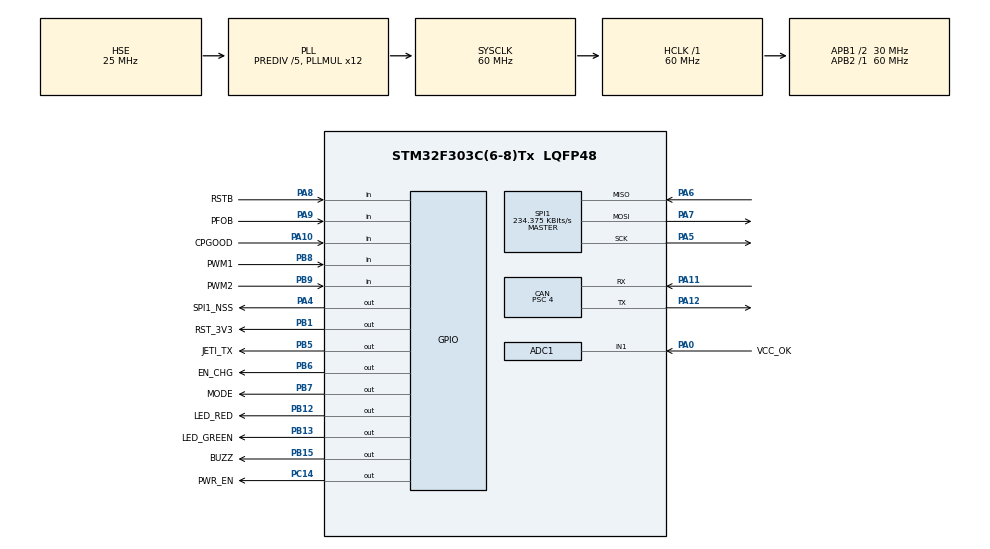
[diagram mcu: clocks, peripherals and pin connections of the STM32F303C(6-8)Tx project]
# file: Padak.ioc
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ADC1.Channel-0\#ChannelRegularConversion=ADC_CHANNEL_1
ADC1.ClockPrescaler=ADC_CLOCK_ASYNC_DIV1
ADC1.ContinuousConvMode=DISABLE
ADC1.DMAContinuousRequests=DISABLE
ADC1.DataAlign=ADC_DATAALIGN_RIGHT
ADC1.DiscontinuousConvMode=DISABLE
ADC1.EOCSelection=ADC_EOC_SINGLE_CONV
ADC1.EnableAnalogWatchDog1=false
ADC1.EnableAnalogWatchDog2=false
ADC1.EnableAnalogWatchDog3=false
ADC1.EnableInjectedConversion=ENABLE
ADC1.EnableRegularConversion=ENABLE
ADC1.ExternalTrigConv=ADC_SOFTWARE_START
ADC1.ExternalTrigConvEdge=ADC_EXTERNALTRIGCONVEDGE_NONE
ADC1.InjNumberOfConversion=0
ADC1.LowPowerAutoWait=DISABLE
ADC1.NbrOfConversion=1
ADC1.NbrOfConversionFlag=1
ADC1.Offset-0\#ChannelRegularConversion=0
ADC1.OffsetNumber-0\#ChannelRegularConversion=ADC_OFFSET_NONE
ADC1.Overrun=ADC_OVR_DATA_OVERWRITTEN
ADC1.Rank-0\#ChannelRegularConversion=1
ADC1.Resolution=ADC_RESOLUTION_12B
ADC1.SamplingTime-0\#ChannelRegularConversion=ADC_SAMPLETIME_1CYCLE_5
ADC1.ScanConvMode=ADC_SCAN_DISABLE
ADC1.master=1
CAN.BS1=CAN_BS1_12TQ
CAN.BS2=CAN_BS2_2TQ
CAN.CalculateTimeBit=2000
CAN.CalculateTimeQuantum=133.33333333333334
CAN.Prescaler=4
Mcu.Family=STM32F3
Mcu.Name=STM32F303C(6-8)Tx
Mcu.Package=LQFP48
NVIC.PriorityGroup=NVIC_PRIORITYGROUP_4
NVIC.TIM1_TRG_COM_TIM17_IRQn=true\:0\:0\:false\:false\:true\:true
NVIC.TIM1_UP_TIM16_IRQn=true\:0\:0\:false\:false\:true\:true
NVIC.TIM3_IRQn=true\:0\:0\:false\:false\:true\:true
NVIC.TIM6_DAC1_IRQn=true\:0\:0\:false\:false\:true\:true
PA0.GPIO_Label=VCC_OK
PA0.Mode=IN1-Single-Ended
PA0.Signal=ADC1_IN1
PA10.GPIO_Label=CPGOOD
PA10.Signal=GPIO_Input
PA11.Mode=Master
PA11.Signal=CAN_RX
PA12.Mode=Master
PA12.Signal=CAN_TX
PA4.GPIO_Label=SPI1_NSS
PA4.PinState=GPIO_PIN_SET
PA4.Signal=GPIO_Output
PA5.Mode=Full_Duplex_Master
PA5.Signal=SPI1_SCK
PA6.Mode=Full_Duplex_Master
PA6.Signal=SPI1_MISO
PA7.Mode=Full_Duplex_Master
PA7.Signal=SPI1_MOSI
PA8.GPIO_Label=RSTB
PA8.Signal=GPIO_Input
PA9.GPIO_Label=PFOB
PA9.Signal=GPIO_Input
PB1.GPIO_Label=RST_3V3
PB1.PinState=GPIO_PIN_SET
PB1.Signal=GPIO_Output
PB12.GPIO_Label=LED_RED
PB12.Signal=GPIO_Output
PB13.GPIO_Label=LED_GREEN
PB13.Signal=GPIO_Output
PB15.GPIO_Label=BUZZ
PB15.Signal=GPIO_Output
PB5.GPIO_Label=JETI_TX
PB5.Signal=GPIO_Output
PB6.GPIO_Label=EN_CHG
PB6.PinState=GPIO_PIN_SET
PB6.Signal=GPIO_Output
PB7.GPIO_Label=MODE
PB7.Signal=GPIO_Output
PB8.GPIO_Label=PWM1
PB8.GPIO_PuPd=GPIO_PULLDOWN
PB8.Signal=GPIO_Input
PB9.GPIO_Label=PWM2
PB9.GPIO_PuPd=GPIO_PULLDOWN
PB9.Signal=GPIO_Input
PC14\ /\ OSC32_IN.GPIO_Label=PWR_EN
PC14\ /\ OSC32_IN.Signal=GPIO_Output
PF0\ /\ OSC_IN.Mode=HSE-External-Oscillator
PF0\ /\ OSC_IN.Signal=RCC_OSC_IN
PF1\ /\ OSC_OUT.Mode=HSE-External-Oscillator
PF1\ /\ OSC_OUT.Signal=RCC_OSC_OUT
ProjectManager.HeapSize=0x100
ProjectManager.StackSize=0x400
ProjectManager.TargetToolchain=SW4STM32
RCC.AHBFreq_Value=60000000
RCC.APB1CLKDivider=RCC_HCLK_DIV2
RCC.APB1Freq_Value=30000000
RCC.APB1TimFreq_Value=60000000
RCC.APB2Freq_Value=60000000
RCC.APB2TimFreq_Value=60000000
RCC.CortexFreq_Value=60000000
RCC.HCLKFreq_Value=60000000
RCC.HSE_VALUE=25000000
RCC.HSI_VALUE=8000000
RCC.LSE_VALUE=32768
RCC.PLLMUL=RCC_PLL_MUL12
RCC.PLLSourceVirtual=RCC_PLLSOURCE_HSE
RCC.RCC_PLLsource_Clock_Source_FROM_HSE=RCC_HSE_PREDIV_DIV5
RCC.SYSCLKFreq_VALUE=60000000
RCC.SYSCLKSourceVirtual=RCC_SYSCLKSOURCE_PLLCLK
SPI1.BaudRatePrescaler=SPI_BAUDRATEPRESCALER_256
SPI1.CalculateBaudRate=234.375 KBits/s
SPI1.DataSize=SPI_DATASIZE_8BIT
SPI1.Direction=SPI_DIRECTION_2LINES
SPI1.Mode=SPI_MODE_MASTER
SPI1.NSSPMode=SPI_NSS_PULSE_DISABLE
SPI1.VirtualType=VM_MASTER
TIM16.Period=181
TIM16.Prescaler=59
TIM17.Period=99
TIM17.Prescaler=59
TIM3.Period=624
TIM3.Prescaler=9
TIM6.Period=9
TIM6.Prescaler=59
VP_TIM16_VS_ClockSourceINT.Mode=Enable_Timer
VP_TIM17_VS_ClockSourceINT.Mode=Enable_Timer
VP_TIM3_VS_ClockSourceINT.Mode=Internal
VP_TIM6_VS_ClockSourceINT.Mode=Enable_Timer
board=Padak

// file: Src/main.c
/**
  ******************************************************************************
  * @file           : main.c
  * @brief          : Main program body
  ******************************************************************************
  ** This notice applies to any and all portions of this file
  * that are not between comment pairs USER CODE BEGIN and
  * USER CODE END. Other portions of this file, whether
  * inserted by the user or by software development tools
  * are owned by their respective copyright owners.
  *
  * COPYRIGHT(c) 2018 STMicroelectronics
  *
  * Redistribution and use in source and binary forms, with or without modification,
  * are permitted provided that the following conditions are met:
  *   1. Redistributions of source code must retain the above copyright notice,
  *      this list of conditions and the following disclaimer.
  *   2. Redistributions in binary form must reproduce the above copyright notice,
  *      this list of conditions and the following disclaimer in the documentation
  *      and/or other materials provided with the distribution.
  *   3. Neither the name of STMicroelectronics nor the names of its contributors
  *      may be used to endorse or promote products derived from this software
  *      without specific prior written permission.
  *
  * THIS SOFTWARE IS PROVIDED BY THE COPYRIGHT HOLDERS AND CONTRIBUTORS "AS IS"
  * AND ANY EXPRESS OR IMPLIED WARRANTIES, INCLUDING, BUT NOT LIMITED TO, THE
  * IMPLIED WARRANTIES OF MERCHANTABILITY AND FITNESS FOR A PARTICULAR PURPOSE ARE
  * DISCLAIMED. IN NO EVENT SHALL THE COPYRIGHT HOLDER OR CONTRIBUTORS BE LIABLE
  * FOR ANY DIRECT, INDIRECT, INCIDENTAL, SPECIAL, EXEMPLARY, OR CONSEQUENTIAL
  * DAMAGES (INCLUDING, BUT NOT LIMITED TO, PROCUREMENT OF SUBSTITUTE GOODS OR
  * SERVICES; LOSS OF USE, DATA, OR PROFITS; OR BUSINESS INTERRUPTION) HOWEVER
  * CAUSED AND ON ANY THEORY OF LIABILITY, WHETHER IN CONTRACT, STRICT LIABILITY,
  * OR TORT (INCLUDING NEGLIGENCE OR OTHERWISE) ARISING IN ANY WAY OUT OF THE USE
  * OF THIS SOFTWARE, EVEN IF ADVISED OF THE POSSIBILITY OF SUCH DAMAGE.
  *
  ******************************************************************************
  */
#include "main.h"
#include "stm32f3xx_hal.h"

/* USER CODE BEGIN Includes */
#include "jeti_uart.h"
#include "defines.h"
#include "errors_manager.h"
/* USER CODE END Includes */

ADC_HandleTypeDef hadc1;

CAN_HandleTypeDef hcan;

SPI_HandleTypeDef hspi1;

TIM_HandleTypeDef htim3;
TIM_HandleTypeDef htim6;
TIM_HandleTypeDef htim16;
TIM_HandleTypeDef htim17;

/* USER CODE BEGIN PV */
/* Private variables ---------------------------------------------------------*/
volatile uint32_t timetick_ms =0;
volatile uint32_t timetick_cus =0;
volatile uint32_t pwm1_interval_us = 0;
volatile uint32_t pwm2_interval_us = 0;

int32_t pwm_inc[2] = {0};
uint32_t pwm_v[2] = {0};
uint8_t pwm_s[2] = {0};

/* USER CODE END PV */

void SystemClock_Config(void);
static void MX_GPIO_Init(void);
static void MX_CAN_Init(void);
static void MX_ADC1_Init(void);
static void MX_TIM6_Init(void);
static void MX_TIM3_Init(void);
static void MX_TIM17_Init(void);
static void MX_SPI1_Init(void);
static void MX_TIM16_Init(void);

/* USER CODE BEGIN PFP */
/* Private function prototypes -----------------------------------------------*/

void print(char * str, uint8_t size){
	JETI_EX_TEXT text_plain;
	text_plain._msg_lenght = size;
	generate_seq((uint8_t *)(str),text_plain._seq,size);
	send_jeti_text(&text_plain,NULL);
}

/* USER CODE END PFP */

int main(void)
{

  /* MCU Configuration----------------------------------------------------------*/

  /* Reset of all peripherals, Initializes the Flash interface and the Systick. */
  HAL_Init();

  /* Configure the system clock */
  SystemClock_Config();

  /* Initialize all configured peripherals */
  MX_GPIO_Init();
  MX_CAN_Init();
  MX_ADC1_Init();
  MX_TIM6_Init();
  MX_TIM3_Init();
  MX_TIM17_Init();
  MX_SPI1_Init();
  MX_TIM16_Init();
  /* USER CODE BEGIN 2 */

  uint32_t every_xms = 0;
  uint32_t every_fire = 0;
  uint8_t every_counter = 0;
  char buffer [50] = {0};
  int n;

  STATE state = STATE_ERROR;
  ERROR_STATUS err_status = FAIL;

  uint8_t errors[6] = {0};
  uint8_t errors_counter[6] = {0};

  HAL_GPIO_WritePin(PWR_EN_GPIO_Port,PWR_EN_Pin,1); // 1 - otevreny tranzistor
  HAL_GPIO_WritePin(RST_3V3_GPIO_Port,RST_3V3_Pin,1);

  init_jeti_msgs();

  HAL_TIM_Base_Start_IT(&htim6); // mereni pwm
  HAL_TIM_Base_Start_IT(&htim3); // software UART
  HAL_TIM_Base_Start_IT(&htim17); // timetick ms
  //HAL_TIM_Base_Start_IT(&htim16); // bzucaky

  HAL_CAN_Start(&hcan);

  /* USER CODE END 2 */

  /* Infinite loop */
  /* USER CODE BEGIN WHILE */
  //n = sprintf (buffer, "\r\n<==== Parachutte starts!! ====>\r\n");
  //print(buffer, n);

  uint32_t timer_turn_off = 0;
  uint8_t turn_off_flag = 0;

  uint8_t i =0;

  cast_signal(SIGNAL_START, NULL);

  while (1)
  {
  /* USER CODE END WHILE */

  /* USER CODE BEGIN 3 */

	  signal_master();

	  if(timetick_ms >= every_xms+5){
		  every_counter ++;

		  get_errors(errors);

		  for(i = 0; i<6;++i){errors_counter[i] += errors[i];}

		  if(every_counter >= 20)
		  {
			  for(i = 0; i<6;++i){
				  if(errors_counter[i] >= 10)
					  errors[i] = 1;
				  else
					  errors[i] = 0;

				  errors_counter[i] = 0;
			  }

			  if(errors[ERR_VOLTAGE_IN] && state != STATE_ARMED){
				  HAL_GPIO_WritePin(PWR_EN_GPIO_Port,PWR_EN_Pin,0);
				  turn_off_flag = 0;

			  }else if(errors[ERR_VOLTAGE_IN] && (state == STATE_ARMED) && turn_off_flag == 0){
				  turn_off_flag = 1;
				  timer_turn_off = timetick_ms;
			  }

			  if(turn_off_flag && (timetick_ms >= timer_turn_off+10000)){
				  HAL_GPIO_WritePin(PWR_EN_GPIO_Port,PWR_EN_Pin,0);
			  }

			  set_state(&state,&err_status,errors);

			  CAN_status(state, errors,err_status);
			  //CAN_statusDebug(state, errors,err_status);

			  //CAN_stop();

			  /*n = sprintf (buffer, "RES:%i HIGH:%i LOW:%i PWM:%i", errors[ERR_RESIST_SQUIB],errors[ERR_PIN_HIGH],errors[ERR_PIN_LOW],errors[ERR_PWM]);
			  print(buffer, n);

			  n = sprintf (buffer, " STATUS:%i ERR:%i \r\n", state, err_status);
			  print(buffer, n);*/
			  //n = sprintf (buffer, "RES: %02X, PIN IN: %02X, LOW %02X \r\n", get_SPI(0xd0),get_SPI(0xc1),get_SPI(0xc3));

			  //TOGGLE(LED_GREEN);

			  every_counter =0;

		  }

		  every_xms = timetick_ms;
	  }

	  if(timetick_ms >= every_fire+100){
		  if(state == STATE_ARMED){
			  if(Fire()) {
				  state = STATE_FIRED;
			  }
		  }

		  if(state == STATE_FIRED){
			  CAN_stop();
		  }

		  every_fire = timetick_ms;
	  }

	  //send_state(state, errors,err_status);

  }
  /* USER CODE END 3 */

}

void SystemClock_Config(void)
{

  RCC_OscInitTypeDef RCC_OscInitStruct;
  RCC_ClkInitTypeDef RCC_ClkInitStruct;
  RCC_PeriphCLKInitTypeDef PeriphClkInit;

    /**Initializes the CPU, AHB and APB busses clocks
    */
  RCC_OscInitStruct.OscillatorType = RCC_OSCILLATORTYPE_HSE;
  RCC_OscInitStruct.HSEState = RCC_HSE_ON;
  RCC_OscInitStruct.HSEPredivValue = RCC_HSE_PREDIV_DIV5;
  RCC_OscInitStruct.HSIState = RCC_HSI_ON;
  RCC_OscInitStruct.PLL.PLLState = RCC_PLL_ON;
  RCC_OscInitStruct.PLL.PLLSource = RCC_PLLSOURCE_HSE;
  RCC_OscInitStruct.PLL.PLLMUL = RCC_PLL_MUL12;
  if (HAL_RCC_OscConfig(&RCC_OscInitStruct) != HAL_OK)
  {
    _Error_Handler(__FILE__, __LINE__);
  }

    /**Initializes the CPU, AHB and APB busses clocks
    */
  RCC_ClkInitStruct.ClockType = RCC_CLOCKTYPE_HCLK|RCC_CLOCKTYPE_SYSCLK
                              |RCC_CLOCKTYPE_PCLK1|RCC_CLOCKTYPE_PCLK2;
  RCC_ClkInitStruct.SYSCLKSource = RCC_SYSCLKSOURCE_PLLCLK;
  RCC_ClkInitStruct.AHBCLKDivider = RCC_SYSCLK_DIV1;
  RCC_ClkInitStruct.APB1CLKDivider = RCC_HCLK_DIV2;
  RCC_ClkInitStruct.APB2CLKDivider = RCC_HCLK_DIV1;

  if (HAL_RCC_ClockConfig(&RCC_ClkInitStruct, FLASH_LATENCY_2) != HAL_OK)
  {
    _Error_Handler(__FILE__, __LINE__);
  }

  PeriphClkInit.PeriphClockSelection = RCC_PERIPHCLK_ADC12;
  PeriphClkInit.Adc12ClockSelection = RCC_ADC12PLLCLK_DIV1;
  if (HAL_RCCEx_PeriphCLKConfig(&PeriphClkInit) != HAL_OK)
  {
    _Error_Handler(__FILE__, __LINE__);
  }

    /**Configure the Systick interrupt time
    */
  HAL_SYSTICK_Config(HAL_RCC_GetHCLKFreq()/1000);

    /**Configure the Systick
    */
  HAL_SYSTICK_CLKSourceConfig(SYSTICK_CLKSOURCE_HCLK);

  /* SysTick_IRQn interrupt configuration */
  HAL_NVIC_SetPriority(SysTick_IRQn, 0, 0);
}

/* ADC1 init function */
static void MX_ADC1_Init(void)
{

  ADC_MultiModeTypeDef multimode;
  ADC_ChannelConfTypeDef sConfig;

    /**Common config
    */
  hadc1.Instance = ADC1;
  hadc1.Init.ClockPrescaler = ADC_CLOCK_ASYNC_DIV1;
  hadc1.Init.Resolution = ADC_RESOLUTION_12B;
  hadc1.Init.ScanConvMode = ADC_SCAN_DISABLE;
  hadc1.Init.ContinuousConvMode = DISABLE;
  hadc1.Init.DiscontinuousConvMode = DISABLE;
  hadc1.Init.ExternalTrigConvEdge = ADC_EXTERNALTRIGCONVEDGE_NONE;
  hadc1.Init.ExternalTrigConv = ADC_SOFTWARE_START;
  hadc1.Init.DataAlign = ADC_DATAALIGN_RIGHT;
  hadc1.Init.NbrOfConversion = 1;
  hadc1.Init.DMAContinuousRequests = DISABLE;
  hadc1.Init.EOCSelection = ADC_EOC_SINGLE_CONV;
  hadc1.Init.LowPowerAutoWait = DISABLE;
  hadc1.Init.Overrun = ADC_OVR_DATA_OVERWRITTEN;
  if (HAL_ADC_Init(&hadc1) != HAL_OK)
  {
    _Error_Handler(__FILE__, __LINE__);
  }

    /**Configure the ADC multi-mode
    */
  multimode.Mode = ADC_MODE_INDEPENDENT;
  if (HAL_ADCEx_MultiModeConfigChannel(&hadc1, &multimode) != HAL_OK)
  {
    _Error_Handler(__FILE__, __LINE__);
  }

    /**Configure Regular Channel
    */
  sConfig.Channel = ADC_CHANNEL_1;
  sConfig.Rank = ADC_REGULAR_RANK_1;
  sConfig.SingleDiff = ADC_SINGLE_ENDED;
  sConfig.SamplingTime = ADC_SAMPLETIME_1CYCLE_5;
  sConfig.OffsetNumber = ADC_OFFSET_NONE;
  sConfig.Offset = 0;
  if (HAL_ADC_ConfigChannel(&hadc1, &sConfig) != HAL_OK)
  {
    _Error_Handler(__FILE__, __LINE__);
  }

}

/* CAN init function */
static void MX_CAN_Init(void)
{

  hcan.Instance = CAN;
  hcan.Init.Prescaler = 4;
  hcan.Init.Mode = CAN_MODE_NORMAL;
  hcan.Init.SyncJumpWidth = CAN_SJW_1TQ;
  hcan.Init.TimeSeg1 = CAN_BS1_12TQ;
  hcan.Init.TimeSeg2 = CAN_BS2_2TQ;
  hcan.Init.TimeTriggeredMode = DISABLE;
  hcan.Init.AutoBusOff = DISABLE;
  hcan.Init.AutoWakeUp = DISABLE;
  hcan.Init.AutoRetransmission = DISABLE;
  hcan.Init.ReceiveFifoLocked = DISABLE;
  hcan.Init.TransmitFifoPriority = DISABLE;
  if (HAL_CAN_Init(&hcan) != HAL_OK)
  {
    _Error_Handler(__FILE__, __LINE__);
  }

}

/* SPI1 init function */
static void MX_SPI1_Init(void)
{

  /* SPI1 parameter configuration*/
  hspi1.Instance = SPI1;
  hspi1.Init.Mode = SPI_MODE_MASTER;
  hspi1.Init.Direction = SPI_DIRECTION_2LINES;
  hspi1.Init.DataSize = SPI_DATASIZE_8BIT;
  hspi1.Init.CLKPolarity = SPI_POLARITY_LOW;
  hspi1.Init.CLKPhase = SPI_PHASE_1EDGE;
  hspi1.Init.NSS = SPI_NSS_SOFT;
  hspi1.Init.BaudRatePrescaler = SPI_BAUDRATEPRESCALER_256;
  hspi1.Init.FirstBit = SPI_FIRSTBIT_MSB;
  hspi1.Init.TIMode = SPI_TIMODE_DISABLE;
  hspi1.Init.CRCCalculation = SPI_CRCCALCULATION_DISABLE;
  hspi1.Init.CRCPolynomial = 7;
  hspi1.Init.CRCLength = SPI_CRC_LENGTH_DATASIZE;
  hspi1.Init.NSSPMode = SPI_NSS_PULSE_DISABLE;
  if (HAL_SPI_Init(&hspi1) != HAL_OK)
  {
    _Error_Handler(__FILE__, __LINE__);
  }

}

/* TIM3 init function */
static void MX_TIM3_Init(void)
{

  TIM_ClockConfigTypeDef sClockSourceConfig;
  TIM_MasterConfigTypeDef sMasterConfig;

  htim3.Instance = TIM3;
  htim3.Init.Prescaler = 9;
  htim3.Init.CounterMode = TIM_COUNTERMODE_UP;
  htim3.Init.Period = 624;
  htim3.Init.ClockDivision = TIM_CLOCKDIVISION_DIV1;
  htim3.Init.AutoReloadPreload = TIM_AUTORELOAD_PRELOAD_DISABLE;
  if (HAL_TIM_Base_Init(&htim3) != HAL_OK)
  {
    _Error_Handler(__FILE__, __LINE__);
  }

  sClockSourceConfig.ClockSource = TIM_CLOCKSOURCE_INTERNAL;
  if (HAL_TIM_ConfigClockSource(&htim3, &sClockSourceConfig) != HAL_OK)
  {
    _Error_Handler(__FILE__, __LINE__);
  }

  sMasterConfig.MasterOutputTrigger = TIM_TRGO_RESET;
  sMasterConfig.MasterSlaveMode = TIM_MASTERSLAVEMODE_DISABLE;
  if (HAL_TIMEx_MasterConfigSynchronization(&htim3, &sMasterConfig) != HAL_OK)
  {
    _Error_Handler(__FILE__, __LINE__);
  }

}

/* TIM6 init function */
static void MX_TIM6_Init(void)
{

  TIM_MasterConfigTypeDef sMasterConfig;

  htim6.Instance = TIM6;
  htim6.Init.Prescaler = 59;
  htim6.Init.CounterMode = TIM_COUNTERMODE_UP;
  htim6.Init.Period = 9;
  htim6.Init.AutoReloadPreload = TIM_AUTORELOAD_PRELOAD_DISABLE;
  if (HAL_TIM_Base_Init(&htim6) != HAL_OK)
  {
    _Error_Handler(__FILE__, __LINE__);
  }

  sMasterConfig.MasterOutputTrigger = TIM_TRGO_RESET;
  sMasterConfig.MasterSlaveMode = TIM_MASTERSLAVEMODE_DISABLE;
  if (HAL_TIMEx_MasterConfigSynchronization(&htim6, &sMasterConfig) != HAL_OK)
  {
    _Error_Handler(__FILE__, __LINE__);
  }

}

/* TIM16 init function */
static void MX_TIM16_Init(void)
{

  htim16.Instance = TIM16;
  htim16.Init.Prescaler = 59;
  htim16.Init.CounterMode = TIM_COUNTERMODE_UP;
  htim16.Init.Period = 181;
  htim16.Init.ClockDivision = TIM_CLOCKDIVISION_DIV1;
  htim16.Init.RepetitionCounter = 0;
  htim16.Init.AutoReloadPreload = TIM_AUTORELOAD_PRELOAD_DISABLE;
  if (HAL_TIM_Base_Init(&htim16) != HAL_OK)
  {
    _Error_Handler(__FILE__, __LINE__);
  }

}

/* TIM17 init function */
static void MX_TIM17_Init(void)
{

  htim17.Instance = TIM17;
  htim17.Init.Prescaler = 59;
  htim17.Init.CounterMode = TIM_COUNTERMODE_UP;
  htim17.Init.Period = 99;
  htim17.Init.ClockDivision = TIM_CLOCKDIVISION_DIV1;
  htim17.Init.RepetitionCounter = 0;
  htim17.Init.AutoReloadPreload = TIM_AUTORELOAD_PRELOAD_DISABLE;
  if (HAL_TIM_Base_Init(&htim17) != HAL_OK)
  {
    _Error_Handler(__FILE__, __LINE__);
  }

}

/** Configure pins as
        * Analog
        * Input
        * Output
        * EVENT_OUT
        * EXTI
*/
static void MX_GPIO_Init(void)
{

  GPIO_InitTypeDef GPIO_InitStruct;

  /* GPIO Ports Clock Enable */
  __HAL_RCC_GPIOC_CLK_ENABLE();
  __HAL_RCC_GPIOF_CLK_ENABLE();
  __HAL_RCC_GPIOA_CLK_ENABLE();
  __HAL_RCC_GPIOB_CLK_ENABLE();

  /*Configure GPIO pin Output Level */
  HAL_GPIO_WritePin(PWR_EN_GPIO_Port, PWR_EN_Pin, GPIO_PIN_RESET);

  /*Configure GPIO pin Output Level */
  HAL_GPIO_WritePin(SPI1_NSS_GPIO_Port, SPI1_NSS_Pin, GPIO_PIN_SET);

  /*Configure GPIO pin Output Level */
  HAL_GPIO_WritePin(GPIOB, RST_3V3_Pin|EN_CHG_Pin, GPIO_PIN_SET);

  /*Configure GPIO pin Output Level */
  HAL_GPIO_WritePin(GPIOB, LED_RED_Pin|LED_GREEN_Pin|BUZZ_Pin|JETI_TX_Pin
                          |MODE_Pin, GPIO_PIN_RESET);

  /*Configure GPIO pin : PWR_EN_Pin */
  GPIO_InitStruct.Pin = PWR_EN_Pin;
  GPIO_InitStruct.Mode = GPIO_MODE_OUTPUT_PP;
  GPIO_InitStruct.Pull = GPIO_NOPULL;
  GPIO_InitStruct.Speed = GPIO_SPEED_FREQ_LOW;
  HAL_GPIO_Init(PWR_EN_GPIO_Port, &GPIO_InitStruct);

  /*Configure GPIO pin : SPI1_NSS_Pin */
  GPIO_InitStruct.Pin = SPI1_NSS_Pin;
  GPIO_InitStruct.Mode = GPIO_MODE_OUTPUT_PP;
  GPIO_InitStruct.Pull = GPIO_NOPULL;
  GPIO_InitStruct.Speed = GPIO_SPEED_FREQ_LOW;
  HAL_GPIO_Init(SPI1_NSS_GPIO_Port, &GPIO_InitStruct);

  /*Configure GPIO pins : RST_3V3_Pin LED_RED_Pin LED_GREEN_Pin BUZZ_Pin
                           JETI_TX_Pin EN_CHG_Pin MODE_Pin */
  GPIO_InitStruct.Pin = RST_3V3_Pin|LED_RED_Pin|LED_GREEN_Pin|BUZZ_Pin
                          |JETI_TX_Pin|EN_CHG_Pin|MODE_Pin;
  GPIO_InitStruct.Mode = GPIO_MODE_OUTPUT_PP;
  GPIO_InitStruct.Pull = GPIO_NOPULL;
  GPIO_InitStruct.Speed = GPIO_SPEED_FREQ_LOW;
  HAL_GPIO_Init(GPIOB, &GPIO_InitStruct);

  /*Configure GPIO pins : RSTB_Pin PFOB_Pin CPGOOD_Pin */
  GPIO_InitStruct.Pin = RSTB_Pin|PFOB_Pin|CPGOOD_Pin;
  GPIO_InitStruct.Mode = GPIO_MODE_INPUT;
  GPIO_InitStruct.Pull = GPIO_NOPULL;
  HAL_GPIO_Init(GPIOA, &GPIO_InitStruct);

  /*Configure GPIO pins : PWM1_Pin PWM2_Pin */
  GPIO_InitStruct.Pin = PWM1_Pin|PWM2_Pin;
  GPIO_InitStruct.Mode = GPIO_MODE_INPUT;
  GPIO_InitStruct.Pull = GPIO_PULLDOWN;
  HAL_GPIO_Init(GPIOB, &GPIO_InitStruct);

}

void _Error_Handler(char *file, int line)
{
  while(1)
  {
  }
}

/************************ (C) COPYRIGHT STMicroelectronics *****END OF FILE****/
